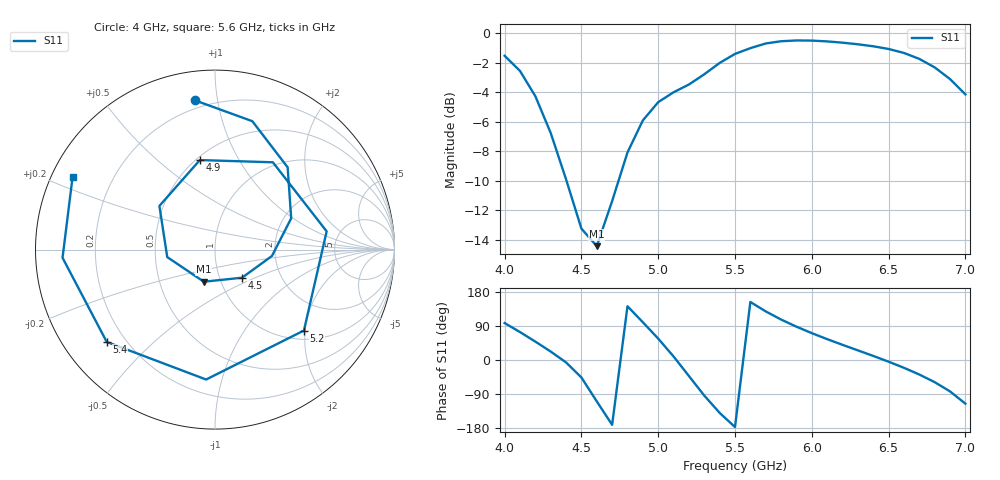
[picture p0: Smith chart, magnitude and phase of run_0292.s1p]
! Touchstone file exported from HFSS 2024.2.0
!  File:  C:/Users/wsak9/Desktop/Sim Fast/Widenad Patch/WP_AI_V1_sweep.aedt
!  Generated:  03:18:21 AM Oct 14, 2026
!  Design:  A1_model
!  Project:  WP_AI_V1_sweep
!  Setup:  Setup1
!  Solution:  Sweep
! Variables:
!  Air_gap = 3.56mm
!  Curve_Amp1 = 2.78
!  Curve_len1 = 1
!  Curve_pos = 12.46mm
!  Extra = 5.65mm
!  H_sub = 0.79mm
!  L_Patch = 20.92mm
!  L_Patch1 = 19.74mm
!  Sx = 4.44mm
!  Sy = 1.69mm
!  WS = 1.14mm
!  W_Patch = 11.74mm
!  W_Patch1 = 14.09mm
!Data is not renormalized
# GHz S MA
! Terminal data exported
! Port[1] = 1
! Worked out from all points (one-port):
!   31 points, 4 GHz to 7 GHz, reference per port
!   lowest |S11| = -14.5 dB at 4.6 GHz (marker M1), VSWR 1.47
!   |S11| at or under -10 dB: 4.403 GHz to 4.742 GHz (339.7 MHz wide, 7.43 % of centre)
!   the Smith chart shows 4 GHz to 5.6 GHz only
!   S11 on the Smith chart (normalised r, x): 4 GHz: 0.15, +0.86; 4.5 GHz: 1.28, -0.42; 4.9 GHz: 0.52, +0.70; 5.2 GHz: 1.20, -1.97; 5.4 GHz: 0.13, -0.36; 5.6 GHz: 0.06, +0.24
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4  0.8383 97.6
4.1  0.745 73.8
4.2  0.6115 48.5
4.3  0.4589 22.3
4.4  0.3194 -6.4
4.5  0.2173 -46.1
4.6  0.1894 -109.1
4.7  0.2693 -171.1
4.8  0.3939 141.9
4.9  0.506 99.6
5  0.5836 56.5
5.1  0.6304 9.3
5.2  0.6698 -42.3
5.3  0.7256 -93.9
5.4  0.7927 -139.5
5.5  0.8506 -176.9
5.6  0.8899 153.1
5.7  0.923 128.3
5.8  0.9392 106.8
5.9  0.945 87.9
6.1  0.938 55.1
6.3  0.9171 25.4
6.5  0.8841 -4.4
6.6  0.8571 -20.6
6.7  0.8183 -38.3
6.8  0.7657 -58.5
6.9  0.6989 -82.9
7  0.6201 -115.2
